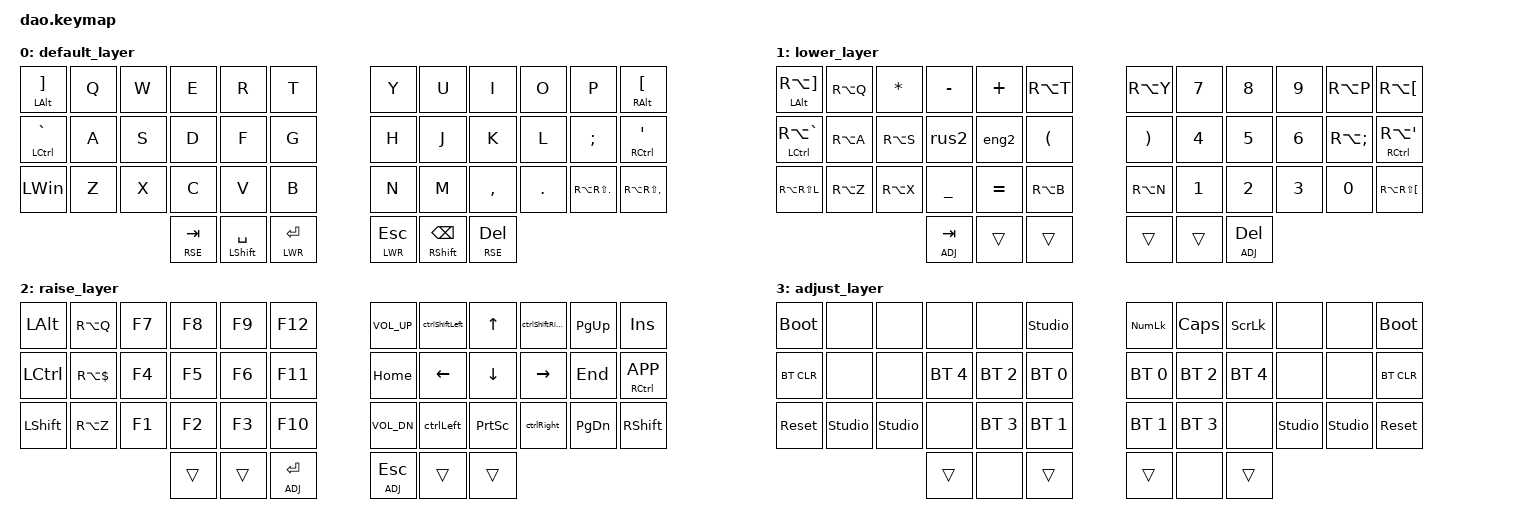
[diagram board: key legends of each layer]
/*
 * Copyright (c) 2021 Rafael Yumagulov
 *
 * SPDX-License-Identifier: MIT
 */

#include <dt-bindings/zmk/mouse.h>
#include <behaviors.dtsi>
#include <dt-bindings/zmk/bt.h>
#include <dt-bindings/zmk/keys.h>

#define DEF 0
#define LWR 1
#define RSE 2
#define ADJ 3

&lt { quick_tap_ms = <200>; };

&mt { quick_tap_ms = <200>; };

/ {
    chosen {
        zmk,matrix_transform = &default_transform;

        // zmk,matrix_transform = &extra_keys_transform;
    };
};

/ {
    macros {
        eng: eng {
            compatible = "zmk,behavior-macro";
            #binding-cells = <0>;
            bindings =
                <&macro_press>,
                <&kp LALT &kp LSHFT>,
                <&macro_tap>,
                <&kp N1>,
                <&macro_release>,
                <&kp LALT &kp LSHFT>;

            label = "eng";
        };

        rus: rus {
            compatible = "zmk,behavior-macro";
            #binding-cells = <0>;
            bindings =
                <&macro_press>,
                <&kp LALT &kp LSHFT>,
                <&macro_tap>,
                <&kp N2>,
                <&macro_release>,
                <&kp LALT &kp LSHFT>;

            label = "rus";
        };

        ctrlLeft: ctrlLeft {
            compatible = "zmk,behavior-macro";
            #binding-cells = <0>;
            bindings =
                <&macro_press>,
                <&kp LCTRL>,
                <&macro_tap>,
                <&kp LEFT>,
                <&macro_release>,
                <&kp LCTRL>;

            label = "CTRLLEFT";
        };

        ctrlRight: ctrlRight {
            compatible = "zmk,behavior-macro";
            #binding-cells = <0>;
            bindings =
                <&macro_press>,
                <&kp LCTRL>,
                <&macro_tap>,
                <&kp RIGHT>,
                <&macro_release>,
                <&kp LCTRL>;

            label = "CTRLRIGHT";
        };

        ctrlShiftLeft: ctrlShiftLeft {
            compatible = "zmk,behavior-macro";
            #binding-cells = <0>;
            bindings =
                <&macro_press>,
                <&kp LC(LEFT_SHIFT)>,
                <&macro_tap>,
                <&kp LEFT>,
                <&macro_release>,
                <&kp LC(LEFT_SHIFT)>;

            label = "CTRLSHIFTLEFT";
        };

        ctrlShiftRight: ctrlShiftRight {
            compatible = "zmk,behavior-macro";
            #binding-cells = <0>;
            bindings =
                <&macro_press>,
                <&kp LC(LEFT_SHIFT)>,
                <&macro_tap>,
                <&kp RIGHT>,
                <&macro_release>,
                <&kp LC(LEFT_SHIFT)>;

            label = "CTRLSHIFTRIGHT";
        };

        eng2: eng2 {
            compatible = "zmk,behavior-macro";
            #binding-cells = <0>;
            bindings =
                <&macro_press>,
                <&kp LA(LSHIFT)>,
                <&macro_tap>,
                <&kp N1>,
                <&macro_release>,
                <&kp LA(LSHIFT)>;

            label = "ENG2";
        };

        rus2: rus2 {
            compatible = "zmk,behavior-macro";
            #binding-cells = <0>;
            bindings =
                <&macro_press>,
                <&kp LA(LSHIFT)>,
                <&macro_tap>,
                <&kp N2>,
                <&macro_release>,
                <&kp LA(LSHIFT)>;

            label = "RUS2";
        };
    };

    keymap {
        compatible = "zmk,keymap";

        default_layer {
            bindings = <
&mt LEFT_ALT RBKT  &kp Q  &kp W  &kp E        &kp R            &kp T        &kp Y        &kp U           &kp I        &kp O    &kp P            &mt RALT LBKT
&mt LCTRL GRAVE    &kp A  &kp S  &kp D        &kp F            &kp G        &kp H        &kp J           &kp K        &kp L    &kp SEMI         &mt RCTRL SQT
&kp LWIN           &kp Z  &kp X  &kp C        &kp V            &kp B        &kp N        &kp M           &kp COMMA    &kp DOT  &kp RA(RS(DOT))  &kp RA(RS(COMMA))
                                 &lt RSE TAB  &mt LSHFT SPACE  &lt LWR RET  &lt LWR ESC  &mt RSHFT BSPC  &lt RSE DEL
            >;
        };

        lower_layer {
            bindings = <
&mt LALT RA(RIGHT_BRACKET)  &kp RA(Q)  &kp ASTERISK  &kp MINUS       &kp PLUS   &kp RA(T)             &kp RA(Y)              &kp N7  &kp N8       &kp N9  &kp RA(P)          &kp RA(LEFT_BRACKET)
&mt LCTRL RA(GRAVE)         &kp RA(A)  &kp RA(S)     &rus2           &eng2      &kp LEFT_PARENTHESIS  &kp RIGHT_PARENTHESIS  &kp N4  &kp N5       &kp N6  &kp RA(SEMICOLON)  &mt RCTRL RA(SQT)
&kp RA(RS(L))               &kp RA(Z)  &kp RA(X)     &kp UNDERSCORE  &kp EQUAL  &kp RA(B)             &kp RA(N)              &kp N1  &kp N2       &kp N3  &kp N0             &kp RA(RS(LEFT_BRACKET))
                                                     &lt ADJ TAB     &trans     &trans                &trans                 &trans  &lt ADJ DEL
            >;
        };

        raise_layer {
            bindings = <
&kp LALT    &kp RA(Q)       &kp F7  &kp F8  &kp F9  &kp F12      &kp C_VOL_UP  &ctrlShiftLeft  &kp UP           &ctrlShiftRight  &kp PG_UP  &kp INS
&kp LCTRL   &kp RA(DOLLAR)  &kp F4  &kp F5  &kp F6  &kp F11      &kp HOME      &kp LEFT        &kp DOWN         &kp RIGHT        &kp END    &mt RCTRL K_APP
&kp LSHIFT  &kp RA(Z)       &kp F1  &kp F2  &kp F3  &kp F10      &kp C_VOL_DN  &ctrlLeft       &kp PRINTSCREEN  &ctrlRight       &kp PG_DN  &kp RSHIFT
                                    &trans  &trans  &lt ADJ RET  &lt ADJ ESC   &trans          &trans
            >;
        };

        adjust_layer {
            bindings = <
&bootloader  &none              &none            &none         &none         &studio_unlock    &kp KP_NUMLOCK  &kp CAPSLOCK  &kp SCROLLLOCK  &none  &none  &bootloader
&bt BT_CLR   &none              &none            &bt BT_SEL 4  &bt BT_SEL 2  &bt BT_SEL 0      &bt BT_SEL 0    &bt BT_SEL 2  &bt BT_SEL 4    &none  &none  &bt BT_CLR
&sys_reset   &studio_unlock     &studio_unlock   &none         &bt BT_SEL 3  &bt BT_SEL 1      &bt BT_SEL 1    &bt BT_SEL 3  &none           &studio_unlock  &studio_unlock  &sys_reset
                                   &trans        &none         &trans        &trans            &none         &trans
            >;
        };
    };
};
